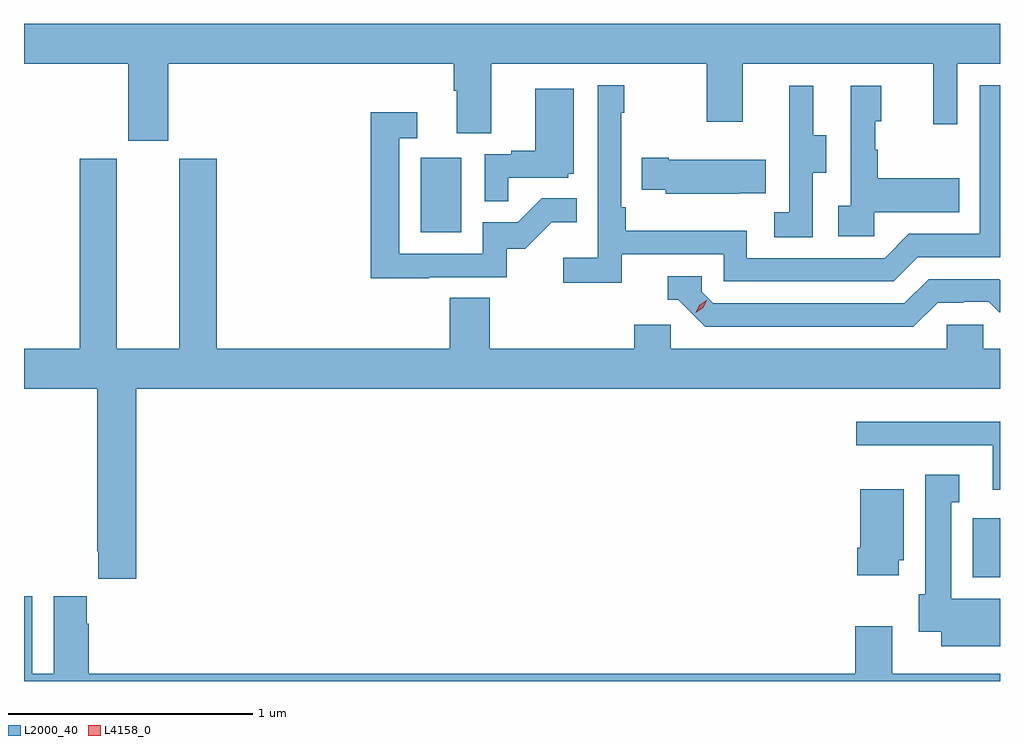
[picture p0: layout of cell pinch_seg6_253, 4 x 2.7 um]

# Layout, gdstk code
import gdstk
lib = gdstk.Library(unit=1e-6, precision=1e-09)
def R(c, l, rs):  # rectangles x0, y0, x1, y1
    for r in rs: c.add(gdstk.rectangle(r[:2], r[2:], *l))
def P(c, l, *ps):  # polygons
    for p in ps: c.add(gdstk.Polygon(p, *l))
L2000_40 = (2000, 40)
L4158_0 = (4158, 0)

pinch_seg6_253 = lib.new_cell('pinch_seg6_253')
R(pinch_seg6_253, L2000_40, [(1109.75,915.926,1109.861,916.168), (1107.488,917.34,1107.652,917.647)])
P(pinch_seg6_253, L2000_40, [(1106.452,918.032),(1107.623,918.032),(1107.623,917.92),(1107.635,917.92),(1107.635,917.746),(1107.775,917.746),(1107.775,918.032),(1108.66,918.032),(1108.66,917.793),(1108.807,917.793),(1108.807,918.032),(1109.588,918.032),(1109.588,917.784),(1109.685,917.784),(1109.685,918.032),(1109.861,918.032),(1109.861,918.196),(1105.861,918.196),(1105.861,918.032),(1106.288,918.032),(1106.288,917.715),(1106.452,917.715)],
  [(1108.31,917.25),(1108.728,917.25),(1108.728,917.139),(1109.425,917.139),(1109.524,917.238),(1109.861,917.238),(1109.861,917.943),(1109.778,917.943),(1109.778,917.334),(1109.487,917.334),(1109.388,917.235),(1108.824,917.235),(1108.824,917.347),(1108.328,917.347),(1108.328,917.443),(1108.308,917.443),(1108.308,917.831),(1108.321,917.831),(1108.321,917.944),(1108.212,917.944),(1108.212,917.236),(1108.071,917.236),(1108.071,917.134),(1108.31,917.134)],
  [(1109.346,917.423),(1109.693,917.423),(1109.693,917.563),(1109.359,917.563),(1109.359,917.678),(1109.349,917.678),(1109.349,917.796),(1109.374,917.796),(1109.374,917.941),(1109.25,917.941),(1109.25,917.45),(1109.199,917.45),(1109.199,917.325),(1109.346,917.325)],
  [(1109.094,917.584),(1109.149,917.584),(1109.149,917.739),(1109.095,917.739),(1109.095,917.941),(1108.997,917.941),(1108.997,917.727),(1108.998,917.727),(1108.998,917.423),(1108.935,917.423),(1108.935,917.32),(1109.094,917.32)],
  [(1107.845,917.565),(1108.092,917.565),(1108.092,917.58),(1108.114,917.58),(1108.114,917.929),(1107.956,917.929),(1107.956,917.674),(1107.857,917.674),(1107.857,917.661),(1107.75,917.661),(1107.75,917.467),(1107.845,917.467)],
  [(1107.521,917.157),(1107.84,917.157),(1107.84,917.274),(1107.916,917.274),(1108.023,917.381),(1108.127,917.381),(1108.127,917.48),(1107.983,917.48),(1107.885,917.382),(1107.741,917.382),(1107.741,917.253),(1107.399,917.253),(1107.399,917.727),(1107.472,917.727),(1107.472,917.833),(1107.283,917.833),(1107.283,917.152),(1107.521,917.152)],
  [(1108.793,917.501),(1108.901,917.501),(1108.901,917.638),(1108.504,917.638),(1108.504,917.646),(1108.393,917.646),(1108.393,917.516),(1108.491,917.516),(1108.491,917.498),(1108.793,917.498)],
  [(1106.321,916.7),(1109.861,916.7),(1109.861,916.864),(1109.793,916.864),(1109.793,916.962),(1109.643,916.962),(1109.643,916.864),(1108.512,916.864),(1108.512,916.962),(1108.361,916.962),(1108.361,916.864),(1107.77,916.864),(1107.77,917.072),(1107.605,917.072),(1107.605,916.864),(1106.651,916.864),(1106.651,917.643),(1106.498,917.643),(1106.498,916.864),(1106.242,916.864),(1106.242,917.643),(1106.09,917.643),(1106.09,916.864),(1105.861,916.864),(1105.861,916.7),(1106.161,916.7),(1106.161,916.033),(1106.165,916.033),(1106.165,915.921),(1106.321,915.921)],
  [(1109.605,917.052),(1109.712,917.052),(1109.712,917.055),(1109.815,917.055),(1109.857,917.013),(1109.861,917.013),(1109.861,917.144),(1109.857,917.148),(1109.568,917.148),(1109.469,917.049),(1108.686,917.049),(1108.638,917.097),(1108.638,917.16),(1108.499,917.16),(1108.499,917.064),(1108.542,917.064),(1108.653,916.953),(1109.506,916.953)],
  [(1109.861,916.564),(1109.271,916.564),(1109.271,916.467),(1109.831,916.467),(1109.831,916.286),(1109.861,916.286)],
  [(1109.861,915.838),(1109.662,915.838),(1109.662,916.235),(1109.695,916.235),(1109.695,916.348),(1109.555,916.348),(1109.555,915.858),(1109.528,915.858),(1109.528,915.704),(1109.621,915.704),(1109.621,915.644),(1109.861,915.644)],
  [(1109.446,915.996),(1109.467,915.996),(1109.467,916.288),(1109.288,916.288),(1109.288,916.048),(1109.276,916.048),(1109.276,915.936),(1109.446,915.936)],
  [(1109.861,915.532),(1109.419,915.532),(1109.419,915.727),(1109.267,915.727),(1109.267,915.532),(1106.126,915.532),(1106.126,915.737),(1106.119,915.737),(1106.119,915.85),(1105.982,915.85),(1105.982,915.532),(1105.894,915.532),(1105.894,915.85),(1105.861,915.85),(1105.861,915.5),(1109.861,915.5)])
P(pinch_seg6_253, L4158_0, [(1108.614,917.011),(1108.614,917.012),(1108.63,917.044),(1108.661,917.064),(1108.661,917.064),(1108.661,917.064),(1108.645,917.031),(1108.615,917.011)])

lib.write_gds('pinch_seg6_253.gds')
